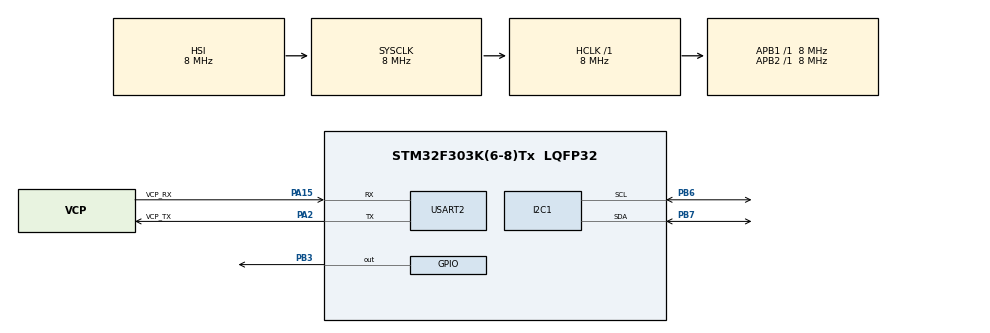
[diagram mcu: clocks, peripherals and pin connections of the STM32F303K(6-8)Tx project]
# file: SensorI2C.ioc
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Mcu.Family=STM32F3
Mcu.Name=STM32F303K(6-8)Tx
Mcu.Package=LQFP32
NVIC.PriorityGroup=NVIC_PRIORITYGROUP_4
PA13.GPIO_Label=SWDIO
PA13.Mode=Serial_Wire
PA13.Signal=SYS_JTMS-SWDIO
PA14.GPIO_Label=SWCLK
PA14.Mode=Serial_Wire
PA14.Signal=SYS_JTCK-SWCLK
PA15.GPIO_Label=VCP_RX
PA15.Mode=Asynchronous
PA15.Signal=USART2_RX
PA2.GPIO_Label=VCP_TX
PA2.Mode=Asynchronous
PA2.Signal=USART2_TX
PB3.Signal=GPIO_Output
PB6.Mode=I2C
PB6.Signal=I2C1_SCL
PB7.Mode=I2C
PB7.Signal=I2C1_SDA
PF0\ /\ OSC_IN.GPIO_Label=MCO
PF0\ /\ OSC_IN.Mode=HSE-External-Clock-Source
PF0\ /\ OSC_IN.Signal=RCC_OSC_IN
ProjectManager.HeapSize=0x200
ProjectManager.StackSize=0x400
ProjectManager.TargetToolchain=STM32CubeIDE
RCC.AHBFreq_Value=8000000
RCC.APB1Freq_Value=8000000
RCC.APB2Freq_Value=8000000
RCC.CortexFreq_Value=8000000
RCC.HSE_VALUE=8000000
RCC.HSI_VALUE=8000000
RCC.SYSCLKFreq_VALUE=8000000
USART2.VirtualMode-Asynchronous=VM_ASYNC
board=NUCLEO-F303K8

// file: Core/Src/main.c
/* USER CODE BEGIN Header */
/**
  ******************************************************************************
  * @file           : main.c
  * @brief          : Main program body
  ******************************************************************************
  * @attention
  *
  * Copyright (c) 2024 STMicroelectronics.
  * All rights reserved.
  *
  * This software is licensed under terms that can be found in the LICENSE file
  * in the root directory of this software component.
  * If no LICENSE file comes with this software, it is provided AS-IS.
  *
  ******************************************************************************
  */
/* USER CODE END Header */
#include "main.h"
#include "i2c.h"
#include "usart.h"
#include "gpio.h"

/* USER CODE BEGIN Includes */
#include <lis2dw12_reg.h>
#include <stdio.h>
#include <string.h>
/* USER CODE END Includes */

void SystemClock_Config(void);

/* USER CODE BEGIN 0 */
int32_t i2cWrite_Accel(void *handle, uint8_t reg, const uint8_t *bufp, uint16_t len);
int32_t i2cRead_Accel(void *handle, uint8_t reg, uint8_t *bufp, uint16_t len);
int32_t i2cWrite_Gyro( uint8_t reg, const uint8_t *bufp);
int32_t i2cRead_Gyro( int8_t reg,  uint8_t *bufp, uint16_t len);
/* USER CODE END 0 */

int main(void)
{
  /* USER CODE BEGIN 1 */
	stmdev_ctx_t device_interface;
	device_interface.write_reg = i2cWrite_Accel;
	device_interface.read_reg = i2cRead_Accel;
	device_interface.mdelay = HAL_Delay;
	device_interface.handle = &hi2c1;

	static uint8_t tx_buffer[1000];
	static int16_t data_raw_acceleration[3];
	static int16_t data_raw_rotationAccel[3];
	static float acceleration_mg[3];
  /* USER CODE END 1 */

  /* MCU Configuration--------------------------------------------------------*/

  /* Reset of all peripherals, Initializes the Flash interface and the Systick. */
  HAL_Init();

  /* Configure the system clock */
  SystemClock_Config();

  /* Initialize all configured peripherals */
  MX_GPIO_Init();
  MX_USART2_UART_Init();
  MX_I2C1_Init();
  /* USER CODE BEGIN 2 */
    uint8_t whoamI, rst;
	lis2dw12_device_id_get(&device_interface, &whoamI);
	if (whoamI != LIS2DW12_ID)
	{
		HAL_GPIO_WritePin(GPIOB, GPIO_PIN_3, 1);
	  while(1);
	}
	//while(1);
	lis2dw12_reset_set(&device_interface, PROPERTY_ENABLE);
	do
	{
	  lis2dw12_reset_get(&device_interface, &rst);
	} while(rst);

	 /* Enable Block Data Update */
	  lis2dw12_block_data_update_set(&device_interface, PROPERTY_ENABLE);
	  /* Set full scale */
	  lis2dw12_full_scale_set(&device_interface, LIS2DW12_2g);
	  /* Configure filtering chain
	   * Accelerometer - filter path / bandwidth
	   */
	  lis2dw12_filter_path_set(&device_interface, LIS2DW12_LPF_ON_OUT);
	  lis2dw12_filter_bandwidth_set(&device_interface, LIS2DW12_ODR_DIV_4);
	  /* Configure power mode */
	  lis2dw12_power_mode_set(&device_interface, LIS2DW12_HIGH_PERFORMANCE);
	  /* Set Output Data Rate */
	  lis2dw12_data_rate_set(&device_interface, LIS2DW12_XL_ODR_25Hz);

	  i2cRead_Gyro(0x0F,  &whoamI, 1);
	  sprintf((char *)tx_buffer,"%d\r\n", whoamI);
	  	        HAL_UART_Transmit(&huart2, tx_buffer, strlen((char const *)tx_buffer), 200);

	  	if (whoamI != 0b11010011)
	  	{
	  	  HAL_GPIO_WritePin(GPIOB, GPIO_PIN_3, 1);
	  	  while(1);
	  	}
	  	while(1);
	  	// THIS IS NOT THE PROPER WAY TO THIS. SHOULD ONLY CHANGE CERTAIN BITS IN REGISTRY. function maybe fixable
	  	i2cWrite_Gyro( 0x20, 0b00001111);//emables device and axis
	  	i2cWrite_Gyro(0x21, 0b00000000); // highest cutoff frec, assentially sisables lowpass
	  	i2cWrite_Gyro(0x23, 0b00000000);

  /* USER CODE END 2 */

  /* Infinite loop */
  /* USER CODE BEGIN WHILE */
  while (1)
  {
	  uint8_t reg;
	  uint8_t rotAccReady;
	      /* Read output only if new value is available */
	      lis2dw12_flag_data_ready_get(&device_interface, &reg);

	      if (reg) {
	        /* Read acceleration data */
	        memset(data_raw_acceleration, 0x00, 3 * sizeof(int16_t));
	        lis2dw12_acceleration_raw_get(&device_interface, data_raw_acceleration);
	        acceleration_mg[0] = lis2dw12_from_fs2_to_mg(
	                               data_raw_acceleration[0]);
	        acceleration_mg[1] = lis2dw12_from_fs2_to_mg(
	                               data_raw_acceleration[1]);
	        acceleration_mg[2] = lis2dw12_from_fs2_to_mg(
	                               data_raw_acceleration[2]);
	        sprintf((char *)tx_buffer,"Acceleration [mg]:%4.2f\t%4.2f\t%4.2f\r\n", acceleration_mg[0], acceleration_mg[1], acceleration_mg[2]);
	        HAL_UART_Transmit(&huart2, tx_buffer, strlen((char const *)tx_buffer), 200);
	      }

	      i2cRead_Gyro(0x27,&rotAccReady,1);
	      if(rotAccReady & 0b1000)
	      {
	    	  memset(data_raw_rotationAccel, 0x00, 3 * sizeof(int16_t));

	      }

    /* USER CODE END WHILE */

  }
}

void SystemClock_Config(void)
{
  RCC_OscInitTypeDef RCC_OscInitStruct = {0};
  RCC_ClkInitTypeDef RCC_ClkInitStruct = {0};
  RCC_PeriphCLKInitTypeDef PeriphClkInit = {0};

  /** Initializes the RCC Oscillators according to the specified parameters
  * in the RCC_OscInitTypeDef structure.
  */
  RCC_OscInitStruct.OscillatorType = RCC_OSCILLATORTYPE_HSI;
  RCC_OscInitStruct.HSIState = RCC_HSI_ON;
  RCC_OscInitStruct.HSICalibrationValue = RCC_HSICALIBRATION_DEFAULT;
  RCC_OscInitStruct.PLL.PLLState = RCC_PLL_NONE;
  if (HAL_RCC_OscConfig(&RCC_OscInitStruct) != HAL_OK)
  {
    Error_Handler();
  }

  /** Initializes the CPU, AHB and APB buses clocks
  */
  RCC_ClkInitStruct.ClockType = RCC_CLOCKTYPE_HCLK|RCC_CLOCKTYPE_SYSCLK
                              |RCC_CLOCKTYPE_PCLK1|RCC_CLOCKTYPE_PCLK2;
  RCC_ClkInitStruct.SYSCLKSource = RCC_SYSCLKSOURCE_HSI;
  RCC_ClkInitStruct.AHBCLKDivider = RCC_SYSCLK_DIV1;
  RCC_ClkInitStruct.APB1CLKDivider = RCC_HCLK_DIV1;
  RCC_ClkInitStruct.APB2CLKDivider = RCC_HCLK_DIV1;

  if (HAL_RCC_ClockConfig(&RCC_ClkInitStruct, FLASH_LATENCY_0) != HAL_OK)
  {
    Error_Handler();
  }
  PeriphClkInit.PeriphClockSelection = RCC_PERIPHCLK_I2C1;
  PeriphClkInit.I2c1ClockSelection = RCC_I2C1CLKSOURCE_HSI;
  if (HAL_RCCEx_PeriphCLKConfig(&PeriphClkInit) != HAL_OK)
  {
    Error_Handler();
  }
}

/* USER CODE BEGIN 4 */
//wrapers for accelerometer driver
int32_t i2cWrite_Accel(void *handle, uint8_t reg, const uint8_t *bufp, uint16_t len)
{
	HAL_I2C_Mem_Write(handle, LIS2DW12_I2C_ADD_H, reg, I2C_MEMADD_SIZE_8BIT, (uint8_t*) bufp, len, 1000);
	return 0;
}

int32_t i2cWrite_Gyro( uint8_t reg, const uint8_t *bufp)
{
	//TODO: read the registry, make only necessary bit changes (bitwise or/and ?), send registry
	HAL_I2C_Mem_Write(&hi2c1, 0xD2, reg, I2C_MEMADD_SIZE_8BIT, (uint8_t*) bufp, 1, 1000);
	return 0;
}

int32_t i2cRead_Accel(void *handle, uint8_t reg,  uint8_t *bufp, uint16_t len)
{
	HAL_I2C_Mem_Read(handle, LIS2DW12_I2C_ADD_H, reg, I2C_MEMADD_SIZE_8BIT, bufp, len, 1000);
	return 0;
}

int32_t i2cRead_Gyro( int8_t reg,  uint8_t *bufp, uint16_t len)
{
	HAL_I2C_Mem_Read(&hi2c1, 0xD3U, reg, I2C_MEMADD_SIZE_8BIT, bufp, len, 1000);
	return 0;
}
/* USER CODE END 4 */

void Error_Handler(void)
{
  __disable_irq();
  while (1)
  {
  }
}
